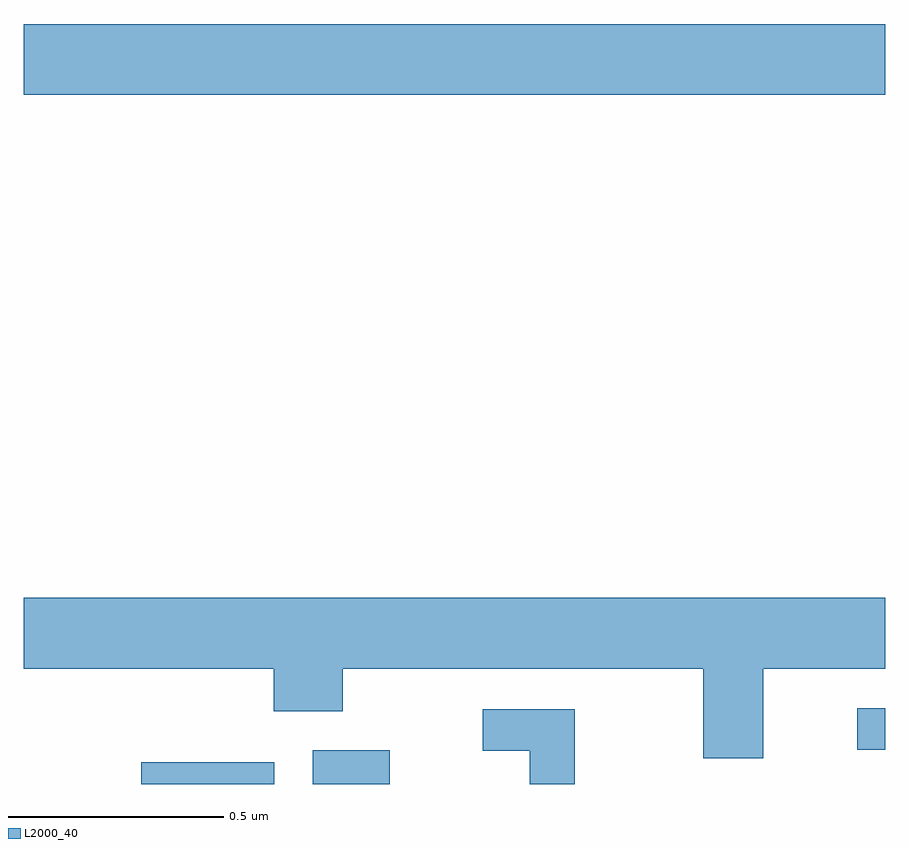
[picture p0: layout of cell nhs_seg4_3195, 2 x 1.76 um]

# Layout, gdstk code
import gdstk
lib = gdstk.Library(unit=1e-6, precision=1e-09)
def R(c, l, rs):  # rectangles x0, y0, x1, y1
    for r in rs: c.add(gdstk.rectangle(r[:2], r[2:], *l))
def P(c, l, *ps):  # polygons
    for p in ps: c.add(gdstk.Polygon(p, *l))
L2000_40 = (2000, 40)

nhs_seg4_3195 = lib.new_cell('nhs_seg4_3195')
R(nhs_seg4_3195, L2000_40, [(150.273,781.9,150.582,781.95), (150.671,781.9,150.85,781.978), (151.935,781.98,152,782.076), (150,783.5,152,783.664)])
P(nhs_seg4_3195, L2000_40, [(151.717,782.168),(152,782.168),(152,782.332),(150,782.332),(150,782.168),(150.581,782.168),(150.581,782.069),(150.741,782.069),(150.741,782.168),(151.577,782.168),(151.577,781.96),(151.717,781.96)],
  [(151.279,782.073),(151.065,782.073),(151.065,781.977),(151.175,781.977),(151.175,781.9),(151.279,781.9)])

lib.write_gds('nhs_seg4_3195.gds')
